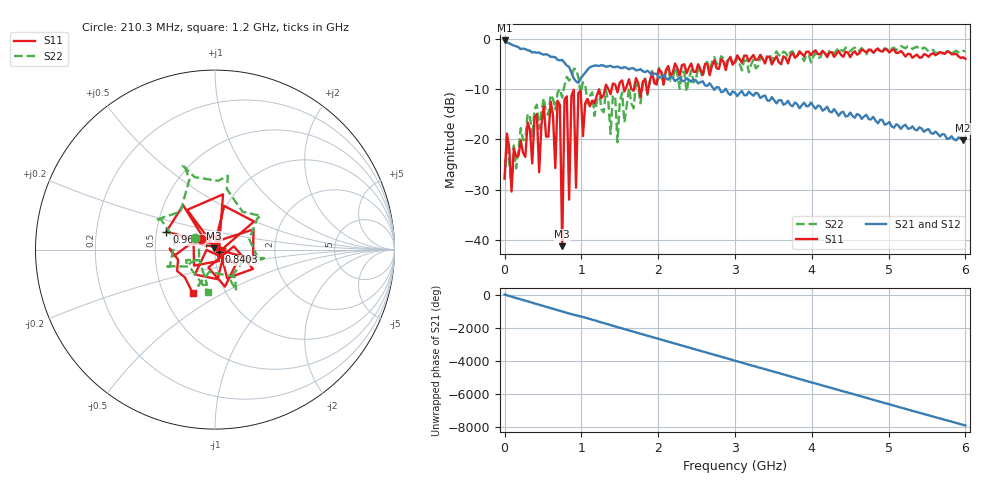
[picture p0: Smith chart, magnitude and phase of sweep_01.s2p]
! 2-port S-parameters written by miniscope-char acquisition
! instrument: Pico Technology Ltd,PicoVNA-106,10080,5.3.4
! transport: scpi
! endpoint: 127.0.0.1:5025
! demo: false
! calibration: user
! calibration_file: June 2026 Short cable calibration.calx
# HZ S RI R 50
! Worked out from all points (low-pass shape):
!   201 points, 300 kHz to 6 GHz, reference 50 ohm
!   highest |S21| = -0.34 dB at 300 kHz (marker M1); lowest = -20.2 dB at 5.97 GHz (marker M2)
!   |S21| within 3 dB of the highest: start of sweep to 578.2 MHz
!   lowest |S11| = -41.2 dB at 750.3 MHz (marker M3), VSWR 1.02, Z = 49.5 + j0.691 ohm
!   |S11| at or under -10 dB: start of sweep to 1.307 GHz; 1.351 GHz to 1.395 GHz (43.42 MHz wide, 3.16 % of centre); 1.457 GHz to 1.48 GHz (22.79 MHz wide, 1.55 % of centre)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
!   |S22| runs from -29.1 to -1.5 dB; largest |S21 - S12| = 0.0099
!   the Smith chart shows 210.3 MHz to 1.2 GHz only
!   S11 on the Smith chart (normalised r, x): 210.3 MHz: 0.85, +0.10; 840.3 MHz: 1.04, -0.03; 960.3 MHz: 0.56, +0.12; 1.2 GHz: 0.70, -0.37
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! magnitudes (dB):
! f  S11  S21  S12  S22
! 300 kHz  -27.8  -0.3  -0.4  -28.0
! 210.3 MHz  -20.2  -2.1  -2.1  -17.8
! 420.3 MHz  -15.0  -2.8  -2.8  -13.1
! 450.3 MHz  -26.5  -2.7  -2.7  -17.9
! 600.3 MHz  -12.5  -3.6  -3.6  -11.1
! 660.3 MHz  -25.7  -3.7  -3.7  -14.0
! 720.3 MHz  -13.2  -4.3  -4.3  -10.0
! 750.3 MHz  -41.2  -4.2  -4.2  -11.7
! 780.3 MHz  -12.1  -4.8  -4.8  -9.3
! 810.3 MHz  -11.4  -5.3  -5.3  -7.6
! 840.3 MHz  -32.0  -5.6  -5.6  -8.3
! 870.3 MHz  -11.4  -6.8  -6.8  -7.5
! 930.3 MHz  -29.6  -8.5  -8.4  -6.0
! 960.3 MHz  -10.8  -8.8  -8.7  -7.6
! 1.02 GHz  -19.3  -7.3  -7.3  -8.6
! 1.2 GHz  -11.3  -5.3  -5.3  -12.5
! 2.01 GHz  -6.0  -7.7  -7.7  -5.8
! 3 GHz  -4.5  -10.7  -10.8  -4.9
! 4.02 GHz  -2.6  -13.4  -13.4  -3.5
! 5.01 GHz  -2.7  -16.5  -16.6  -2.5
! 5.97 GHz  -3.7  -20.2  -20.2  -2.4
! 6 GHz  -4.0  -19.9  -19.9  -2.5
